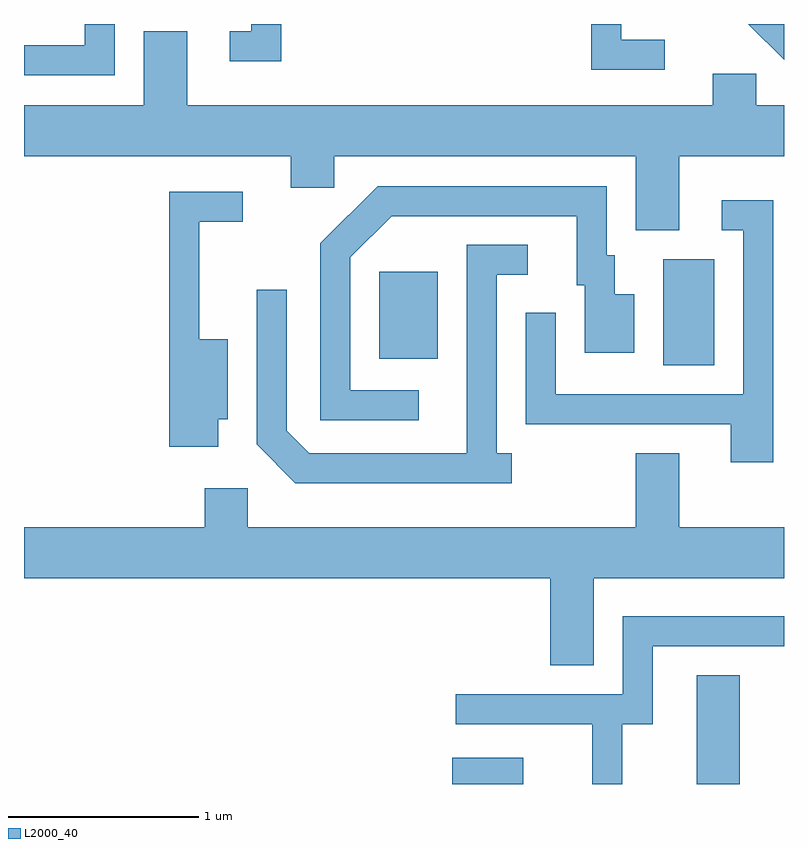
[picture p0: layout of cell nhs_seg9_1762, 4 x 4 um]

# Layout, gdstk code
import gdstk
lib = gdstk.Library(unit=1e-6, precision=1e-09)
def R(c, l, rs):  # rectangles x0, y0, x1, y1
    for r in rs: c.add(gdstk.rectangle(r[:2], r[2:], *l))
def P(c, l, *ps):  # polygons
    for p in ps: c.add(gdstk.Polygon(p, *l))
L2000_40 = (2000, 40)

nhs_seg9_1762 = lib.new_cell('nhs_seg9_1762')
R(nhs_seg9_1762, L2000_40, [(237.866,2068.432,238.239,2068.569), (239.151,2068.432,239.379,2069.004), (238.976,2070.636,239.244,2071.194), (237.481,2070.671,237.789,2071.129)])
P(nhs_seg9_1762, L2000_40, [(236.089,2072.432),(235.931,2072.432),(235.931,2072.319),(235.611,2072.319),(235.611,2072.161),(236.089,2072.161)],
  [(238.983,2072.349),(238.754,2072.349),(238.754,2072.432),(238.596,2072.432),(238.596,2072.191),(238.983,2072.191)],
  [(236.964,2072.432),(236.806,2072.432),(236.806,2072.394),(236.693,2072.394),(236.693,2072.236),(236.964,2072.236)],
  [(239.611,2072.432),(239.422,2072.432),(239.611,2072.244)],
  [(239.059,2071.736),(239.611,2071.736),(239.611,2072.004),(239.464,2072.004),(239.464,2072.169),(239.236,2072.169),(239.236,2072.004),(236.469,2072.004),(236.469,2072.394),(236.241,2072.394),(236.241,2072.004),(235.611,2072.004),(235.611,2071.736),(237.016,2071.736),(237.016,2071.571),(237.244,2071.571),(237.244,2071.736),(238.831,2071.736),(238.831,2071.346),(239.059,2071.346)],
  [(237.688,2070.504),(237.329,2070.504),(237.329,2071.204),(237.547,2071.421),(238.521,2071.421),(238.521,2071.056),(238.561,2071.056),(238.561,2070.701),(238.824,2070.701),(238.824,2071.009),(238.719,2071.009),(238.719,2071.214),(238.679,2071.214),(238.679,2071.579),(237.474,2071.579),(237.171,2071.277),(237.171,2070.346),(237.688,2070.346)],
  [(236.634,2070.351),(236.684,2070.351),(236.684,2070.774),(236.534,2070.774),(236.534,2071.391),(236.763,2071.391),(236.763,2071.549),(236.376,2071.549),(236.376,2070.206),(236.634,2070.206)],
  [(239.554,2071.504),(239.283,2071.504),(239.283,2071.346),(239.396,2071.346),(239.396,2070.484),(238.409,2070.484),(238.409,2070.913),(238.251,2070.913),(238.251,2070.326),(239.331,2070.326),(239.331,2070.126),(239.554,2070.126)],
  [(238.178,2070.174),(238.099,2070.174),(238.099,2071.111),(238.263,2071.111),(238.263,2071.269),(237.941,2071.269),(237.941,2070.174),(237.112,2070.174),(236.994,2070.292),(236.994,2071.033),(236.836,2071.033),(236.836,2070.219),(237.039,2070.016),(238.178,2070.016)],
  [(236.789,2069.989),(236.561,2069.989),(236.561,2069.784),(235.611,2069.784),(235.611,2069.516),(238.381,2069.516),(238.381,2069.056),(238.609,2069.056),(238.609,2069.516),(239.611,2069.516),(239.611,2069.784),(239.059,2069.784),(239.059,2070.174),(238.831,2070.174),(238.831,2069.784),(236.789,2069.784)],
  [(238.759,2068.746),(238.919,2068.746),(238.919,2069.156),(239.611,2069.156),(239.611,2069.314),(238.761,2069.314),(238.761,2068.904),(237.883,2068.904),(237.883,2068.746),(238.601,2068.746),(238.601,2068.432),(238.759,2068.432)])

lib.write_gds('nhs_seg9_1762.gds')
